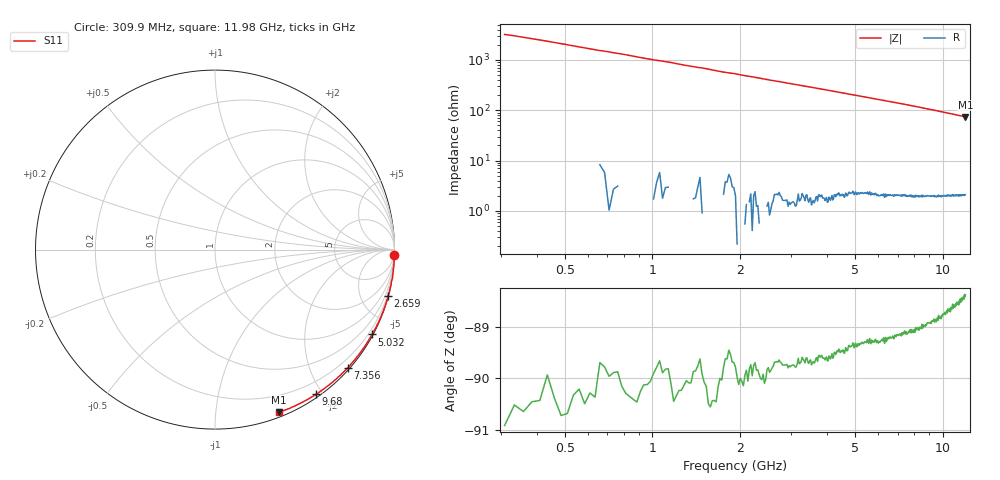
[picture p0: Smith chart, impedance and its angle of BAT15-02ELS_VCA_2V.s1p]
! Infineon Technologies  Discrete & RF Semiconductors
! BAT15-02ELS
! VCA = 2 V
! One-Port S-Parameters
# Hz  S  MA  R  50
!f  S11
!Hz  Mag  Ang
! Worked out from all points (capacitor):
!   468 points, 309.9 MHz to 11.98 GHz, reference 50 ohm
!   read as one part to ground: C = 157 fF near 359.8 MHz
!   lowest |Z| = 73.5 ohm at 11.98 GHz (marker M1)
!   S11 on the Smith chart (normalised r, x): 309.9 MHz: -1, -64; 2.659 GHz: 0.04, -7.60; 5.032 GHz: 0.05, -3.95; 7.356 GHz: 0.04, -2.63; 9.68 GHz: 0.04, -1.92; 11.98 GHz: 0.04, -1.47
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3.0985e8  1 -1.8
4.098e8  1 -2.3
1.2094e9  1.001 -6.8
1.50925e9  1 -8.4
1.6092e9  1.001 -9.1
1.784112e9  0.9988 -10.1
1.90905e9  0.999 -10.7
2.009e9  1 -11.3
2.658675e9  0.9986 -15.0
3.233388e9  0.9984 -18.2
3.983012e9  0.9972 -22.4
4.70765e9  0.9958 -26.6
5.032488e9  0.9945 -28.4
5.682162e9  0.9931 -32.0
6.156925e9  0.9927 -34.8
6.831588e9  0.991 -38.6
7.356325e9  0.9899 -41.7
7.6062e9  0.9895 -43.0
7.981012e9  0.9883 -45.2
8.180912e9  0.9879 -46.4
8.380812e9  0.9875 -47.5
8.580712e9  0.9864 -48.7
9.080462e9  0.9851 -51.6
9.680162e9  0.9826 -55.1
1.052974e10  0.9798 -59.9
1.132934e10  0.9769 -64.6
1.192904e10  0.9746 -68.2
1.197901e10  0.9739 -68.4
